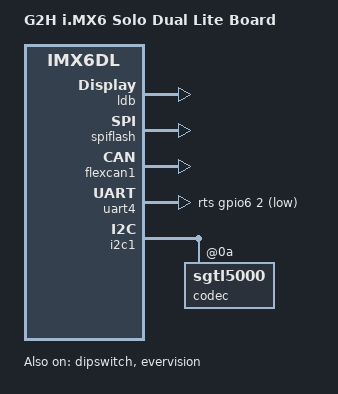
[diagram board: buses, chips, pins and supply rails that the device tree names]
/*
 * Copyright 2014 Reach Technology, Inc.
 *
 * Author: Jeff Horn <jhorn@reachtech.com>
 *
 * This program is free software; you can redistribute it and/or modify
 * it under the terms of the GNU General Public License version 2 as
 * published by the Free Software Foundation.
 *
 */
/dts-v1/;

#include <dt-bindings/interrupt-controller/irq.h>
#include "imx6dl.dtsi"
#include "imx6dl-g2h.dtsi"

/ {
    /*
     * Panel: 10.1" WXGA
     * Touch: evervision 
     * Display Interface: LDB
     * LDB Clock: PLL2
     */
	model = "G2H i.MX6 Solo Dual Lite Board";
	compatible = "reach,imx6sdl-hawthorne", "fsl,imx6dl";

    aliases {
		mxcfb0 = &mxcfb1;
	};
   
    mxcfb1: fb@0 {
		compatible = "fsl,mxc_sdc_fb";
		disp_dev = "ldb";
		interface_pix_fmt = "RGB24";
		mode_str ="LDB-WXGA";
		default_bpp = <32>;
		int_clk = <0>;
		late_init = <0>;
		status = "okay";
    };

    sound: sound@0 {
        status = "okay";
    };

};

&dipswitch {
    status = "okay";
};

&ldb {
	ipu_id = <0>;
	disp_id = <0>;
	ext_ref = <1>;
	mode = "sin0";
	sec_ipu_id = <0>;
	sec_disp_id = <0>;
	backlight_en_gpio = <&gpio2 8 0>;
	disp_en_gpio = <&gpio2 11 0>;
    channel_mapping = "SPWG";
	status = "okay";
};


&epdc {
	status = "disabled";
};

&evervision {
    status = "okay";
};

&spiflash {
	status = "okay";
};

&flexcan1 {
	status = "okay";
};

&uart4 {
	rts-gpios = <&gpio6 2 1>;
};

&i2c1 {
    codec: sgtl5000@0a {
        status = "okay";
    };
};

